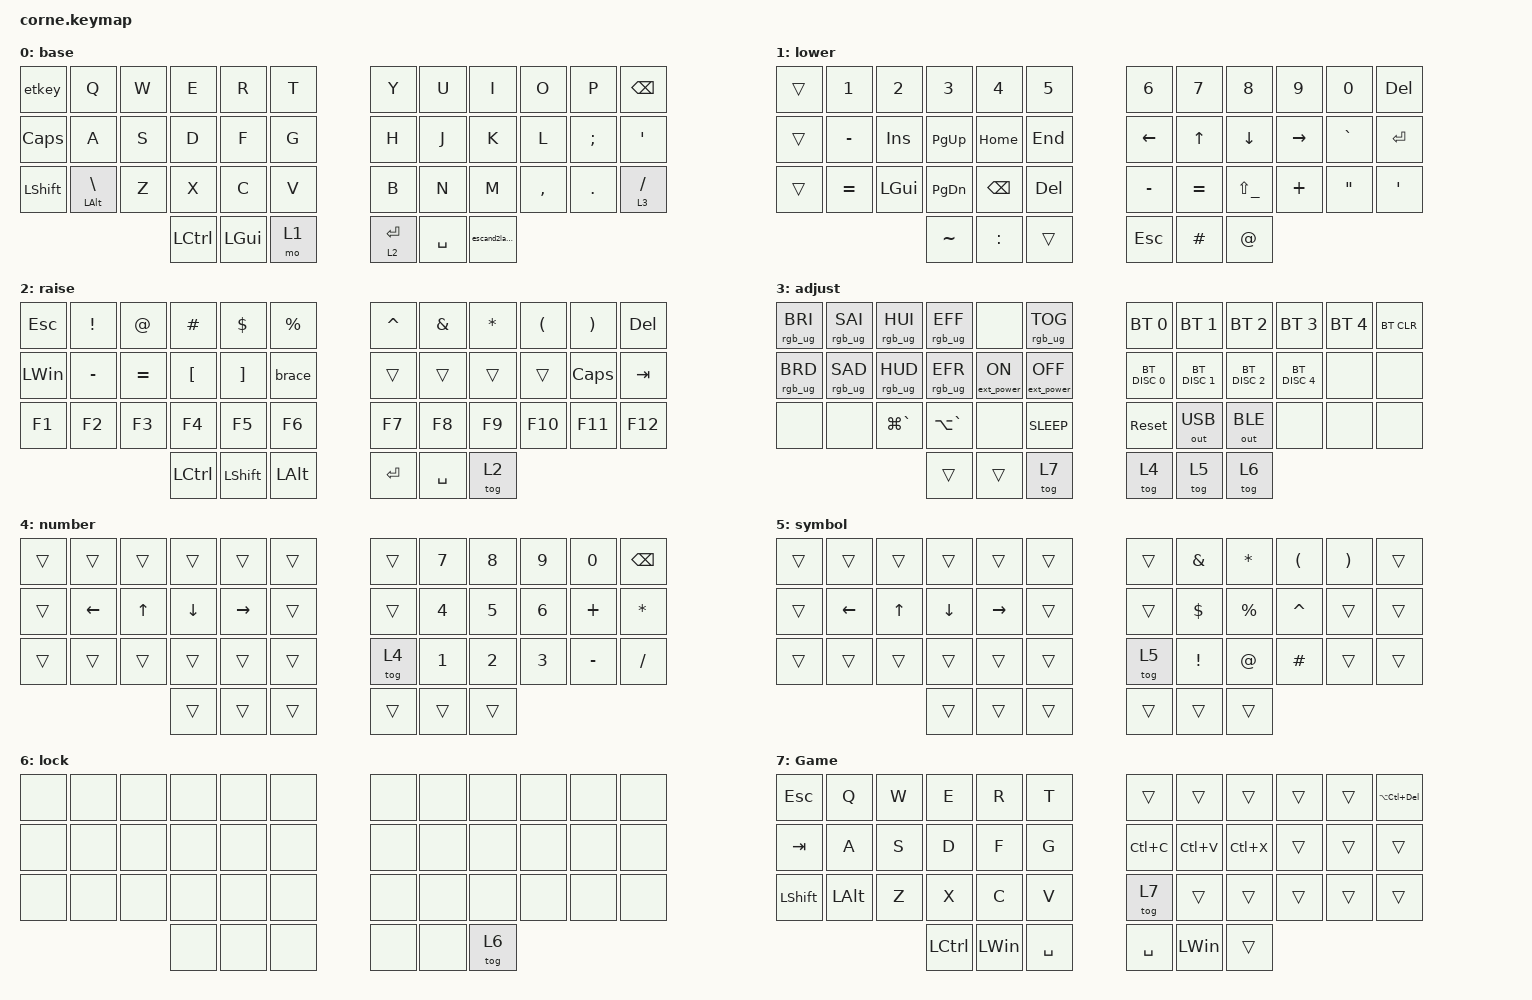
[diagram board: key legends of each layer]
/*
 * Copyright (c) 2020 The ZMK Contributors
 *
 * SPDX-License-Identifier: MIT
 */

#include <behaviors.dtsi>
#include <dt-bindings/zmk/bt.h>
#include <dt-bindings/zmk/ext_power.h>
#include <dt-bindings/zmk/keys.h>
#include <dt-bindings/zmk/outputs.h>
#include <dt-bindings/zmk/rgb.h>

/ {
    combos {
        compatible = "zmk,combos";

        cb_Esc {
            bindings = <&kp ESCAPE>;
            key-positions = <19 20>;
        };
    };

    behaviors {
        escand2layer: escand2layer {
            compatible = "zmk,behavior-tap-dance";
            label = "ESCAND2LAYER";
            #binding-cells = <0>;
            bindings = <&kp ESC>, <&tog 2>;

            tapping-term-ms = <160>;
        };

        brace: brace {
            compatible = "zmk,behavior-tap-dance";
            label = "BRACE";
            #binding-cells = <0>;
            bindings = <&kp LEFT_BRACE>, <&kp RIGHT_BRACE>;

            tapping-term-ms = <160>;
        };

        etkey: etkey {
            compatible = "zmk,behavior-tap-dance";
            label = "ETKEY";
            #binding-cells = <0>;
            bindings = <&kp TAB>, <&kp ESC>;

            tapping-term-ms = <160>;
        };
    };

    keymap {
        compatible = "zmk,keymap";

        default_layer {
            // -------------------------------------------------------------------------------------
            // |  TAB |  Q  |  W  |  E  |  R  |  T  |       |  Y  |  U   |  I  |  O  |  P  |   BKSP    |
            // | SHFT |  A  |  S  |  D  |  F  |  G  |       |  H  |  J   |  K  |  L  |  ;  |    '      |
            // | CTRL |  Z  |  X  |  C  |  V  |  B  |       |  N  |  M   |  ,  |  .  |  /  | SHFT(RET) |
            //                    | ALT | WIN | LWR |       | RSE | SPC  | RTN |

            label = "base";
            bindings = <
&etkey          &kp Q                   &kp W  &kp E      &kp R     &kp T    &kp Y      &kp U      &kp I          &kp O      &kp P       &kp BSPC
&kp CAPS        &kp A                   &kp S  &kp D      &kp F     &kp G    &kp H      &kp J      &kp K          &kp L      &kp SEMI    &kp SQT
&kp LEFT_SHIFT  &mt LEFT_ALT BACKSLASH  &kp Z  &kp X      &kp C     &kp V    &kp B      &kp N      &kp M          &kp COMMA  &kp PERIOD  &lt 3 SLASH
                                               &kp LCTRL  &kp LGUI  &mo 1    &lt 2 RET  &kp SPACE  &escand2layer
            >;
        };

        lower_layer {
            // ----------------------------------------------------------------------------------
            // |    |  !  |  @  |  #  |  $  |  %  |          |  ^  |  &  |  *  |  (  |  )  |    DEL   |
            // |    |  _  |  +  |  {  |  }  | "|" |          | LFT | PGUP|  UP |PGDN|  `  |     ~     |
            // |    | ESC | GUI | ALT | CAPS|  "  |          | HOME| LFT | DWN | RGT| PRSC| SHFT(RET) |
            //                        |     |     |           | ADJ | SPC |  RET  |

            label = "lower";
            bindings = <
&trans  &kp N1     &kp NUMBER_2  &kp N3         &kp N4         &kp N5     &kp NUMBER_6    &kp N7        &kp N8              &kp N9     &kp N0             &kp DEL
&trans  &kp MINUS  &kp INSERT    &kp PG_UP      &kp HOME       &kp END    &kp LEFT_ARROW  &kp UP_ARROW  &kp DOWN            &kp RIGHT  &kp GRAVE          &kp RETURN
&trans  &kp EQUAL  &kp LGUI      &kp PAGE_DOWN  &kp BACKSPACE  &kp DEL    &kp MINUS       &kp EQUAL     &kp LS(UNDERSCORE)  &kp PLUS   &kp DOUBLE_QUOTES  &kp SQT
                                 &kp TILDE      &kp COLON      &trans     &kp ESCAPE      &kp HASH      &kp AT
            >;
        };

        raise_layer {
            // -----------------------------------------------------------------------------------------
            // |    |  1  |  2  |  3  |  4  |  5  |   |  6  |  7  |  8  |  9  |  0  | DEL |
            // |    |  -  |  =  |  [  |  ]  |  \  |   | F1  | F2  | F3  | F4  | F5  | F6  |
            // |    | ESC | GUI | ALT | CAPS|  "  |   | F7  | F8  | F9  | F10 | F11 | F12 |
            //                       |     | ADJ | BKSP |    |     |

            label = "raise";
            bindings = <
&kp ESC       &kp EXCLAMATION  &kp AT_SIGN  &kp HASH   &kp DOLLAR      &kp PERCENT     &kp CARET  &kp AMPERSAND  &kp ASTERISK  &kp LEFT_PARENTHESIS  &kp RIGHT_PARENTHESIS  &kp DEL
&kp LEFT_WIN  &kp MINUS        &kp EQUAL    &kp LBKT   &kp RBKT        &brace          &trans     &trans         &trans        &trans                &kp CAPSLOCK           &kp TAB
&kp F1        &kp F2           &kp F3       &kp F4     &kp F5          &kp F6          &kp F7     &kp F8         &kp F9        &kp F10               &kp F11                &kp F12
                                            &kp LCTRL  &kp LEFT_SHIFT  &kp LEFT_ALT    &kp ENTER  &kp SPACE      &tog 2
            >;
        };

        adjust_layer {
            // -----------------------------------------------------------------------------------------
            // | RGB BRI+ | RGB SAT+ | RGB HUE+ | RGB ANI+ |    | RGB TOG |   |  BT1  | BT2 | BT3 | BT4 | BT5 | BT CLR |
            // | RGB BRI- | RGB SAT- | RGB HUE- | RGB ANI- |    |         |   |  USB  | BLE |     |     |     |        |
            // |          |          |          |          |    | K_SLEEP |   | RESET |     |     |     |     |        |
            //                                              |     |     |     |     |     |

            label = "adjust";
            bindings = <
&rgb_ug RGB_BRI  &rgb_ug RGB_SAI  &rgb_ug RGB_HUI  &rgb_ug RGB_EFF  &none             &rgb_ug RGB_TOG      &bt BT_SEL 0   &bt BT_SEL 1   &bt BT_SEL 2   &bt BT_SEL 3   &bt BT_SEL 4  &bt BT_CLR
&rgb_ug RGB_BRD  &rgb_ug RGB_SAD  &rgb_ug RGB_HUD  &rgb_ug RGB_EFR  &ext_power EP_ON  &ext_power EP_OFF    &bt BT_DISC 0  &bt BT_DISC 1  &bt BT_DISC 2  &bt BT_DISC 4  &none         &none
&none            &none            &kp LG(GRAVE)    &kp LA(GRAVE)    &none             &kp K_SLEEP          &sys_reset     &out OUT_USB   &out OUT_BLE   &none          &none         &none
                                                   &trans           &trans            &tog 7               &tog 4         &tog 5         &tog 6
            >;
        };

        number {
            label = "number";
            bindings = <
&trans  &trans    &trans        &trans    &trans     &trans    &trans  &kp N7        &kp NUMBER_8  &kp N9  &kp N0     &kp BACKSPACE
&trans  &kp LEFT  &kp UP_ARROW  &kp DOWN  &kp RIGHT  &trans    &trans  &kp NUMBER_4  &kp N5        &kp N6  &kp PLUS   &kp STAR
&trans  &trans    &trans        &trans    &trans     &trans    &tog 4  &kp NUMBER_1  &kp N2        &kp N3  &kp MINUS  &kp SLASH
                                &trans    &trans     &trans    &trans  &trans        &trans
            >;
        };

        symbol {
            label = "symbol";
            bindings = <
&trans  &trans    &trans        &trans    &trans     &trans    &trans  &kp AMPERSAND  &kp ASTERISK  &kp LEFT_PARENTHESIS  &kp RIGHT_PARENTHESIS  &trans
&trans  &kp LEFT  &kp UP_ARROW  &kp DOWN  &kp RIGHT  &trans    &trans  &kp DOLLAR     &kp PERCENT   &kp CARET             &trans                 &trans
&trans  &trans    &trans        &trans    &trans     &trans    &tog 5  &kp EXCL       &kp AT_SIGN   &kp HASH              &trans                 &trans
                                &trans    &trans     &trans    &trans  &trans         &trans
            >;
        };

        lock {
            label = "lock";
            bindings = <
&none  &none  &none  &none  &none  &none    &none  &none  &none   &none  &none  &none
&none  &none  &none  &none  &none  &none    &none  &none  &none   &none  &none  &none
&none  &none  &none  &none  &none  &none    &none  &none  &none   &none  &none  &none
                     &none  &none  &none    &none  &none  &tog 6
            >;
        };

        Game {
            bindings = <
&kp ESCAPE  &kp Q         &kp W  &kp E      &kp R         &kp T        &trans     &trans        &trans     &trans  &trans  &kp LA(LC(DEL))
&kp TAB     &kp A         &kp S  &kp D      &kp F         &kp G        &kp LC(C)  &kp LC(V)     &kp LC(X)  &trans  &trans  &trans
&kp LSHFT   &kp LEFT_ALT  &kp Z  &kp X      &kp C         &kp V        &tog 7     &trans        &trans     &trans  &trans  &trans
                                 &kp LCTRL  &kp LEFT_WIN  &kp SPACE    &kp SPACE  &kp LEFT_WIN  &trans
            >;
        };
    };
};
